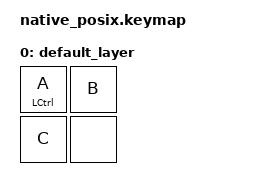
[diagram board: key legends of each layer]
#include <dt-bindings/zmk/keys.h>
#include <behaviors.dtsi>
#include <dt-bindings/zmk/kscan-mock.h>

&mt {
	flavor = "hold-preferred";
};

/*
This test fails if the order of event handlers for hold-taps
and combos is wrong. Hold-taps need to process key position events 
first so the decision to hold or tap can be made.
*/
/ {
	behaviors {
		combo_two {
			compatible = "zmk,behavior-combo";
			label = "COMBO_TWO";
			timeout-ms = <100>;
			key-positions = <1 2>;
			bindings = <&kp Y>;
		};
	};

	keymap {
		compatible = "zmk,keymap";
		label ="Default keymap";

		default_layer {
			bindings = <
				&mt LEFT_CONTROL A &kp B
				&kp C &none
			>;
		};
	};
};

&kscan {
	events = <
		ZMK_MOCK_PRESS(0,0,10) 
		ZMK_MOCK_PRESS(0,1,10) 
		ZMK_MOCK_PRESS(0,2,10) 
		ZMK_MOCK_RELEASE(0,0,10) 
		ZMK_MOCK_RELEASE(0,1,10) 
		ZMK_MOCK_RELEASE(0,2,10)
	>;
};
